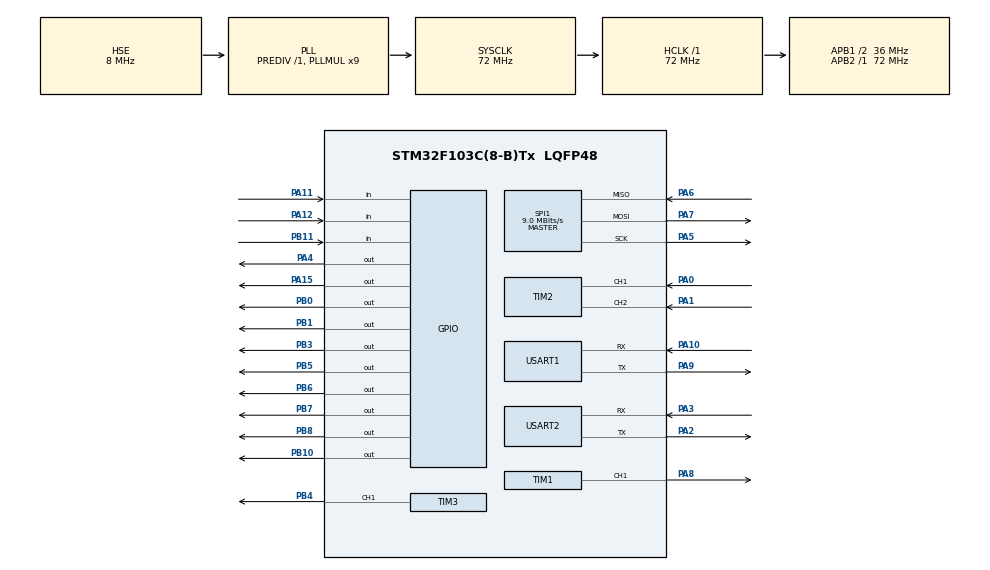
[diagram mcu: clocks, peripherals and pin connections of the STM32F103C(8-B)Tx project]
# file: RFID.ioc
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Mcu.Family=STM32F1
Mcu.Name=STM32F103C(8-B)Tx
Mcu.Package=LQFP48
NVIC.PriorityGroup=NVIC_PRIORITYGROUP_4
NVIC.TIM2_IRQn=true\:0\:0\:false\:false\:true\:true\:true\:true
NVIC.USART1_IRQn=true\:0\:0\:false\:false\:true\:true\:true\:true
NVIC.USART2_IRQn=true\:0\:0\:false\:false\:true\:true\:true\:true
PA0-WKUP.Signal=S_TIM2_CH1_ETR
PA1.Signal=S_TIM2_CH2
PA10.Mode=Asynchronous
PA10.Signal=USART1_RX
PA11.GPIO_PuPd=GPIO_PULLUP
PA11.Signal=GPIO_Input
PA12.GPIO_PuPd=GPIO_PULLUP
PA12.Signal=GPIO_Input
PA13.Mode=Serial_Wire
PA13.Signal=SYS_JTMS-SWDIO
PA14.Mode=Serial_Wire
PA14.Signal=SYS_JTCK-SWCLK
PA15.GPIO_PuPd=GPIO_NOPULL
PA15.PinState=GPIO_PIN_RESET
PA15.Signal=GPIO_Output
PA2.Mode=Asynchronous
PA2.Signal=USART2_TX
PA3.Mode=Asynchronous
PA3.Signal=USART2_RX
PA4.Signal=GPIO_Output
PA5.Mode=Full_Duplex_Master
PA5.Signal=SPI1_SCK
PA6.Mode=Full_Duplex_Master
PA6.Signal=SPI1_MISO
PA7.Mode=Full_Duplex_Master
PA7.Signal=SPI1_MOSI
PA8.Signal=S_TIM1_CH1
PA9.Mode=Asynchronous
PA9.Signal=USART1_TX
PB0.Signal=GPIO_Output
PB1.Signal=GPIO_Output
PB10.Signal=GPIO_Output
PB11.GPIO_PuPd=GPIO_PULLUP
PB11.Signal=GPIO_Input
PB3.Signal=GPIO_Output
PB4.Signal=S_TIM3_CH1
PB5.GPIO_PuPd=GPIO_NOPULL
PB5.PinState=GPIO_PIN_RESET
PB5.Signal=GPIO_Output
PB6.Signal=GPIO_Output
PB7.Signal=GPIO_Output
PB8.Signal=GPIO_Output
PD0-OSC_IN.Mode=HSE-External-Oscillator
PD0-OSC_IN.Signal=RCC_OSC_IN
PD1-OSC_OUT.Mode=HSE-External-Oscillator
PD1-OSC_OUT.Signal=RCC_OSC_OUT
ProjectManager.HeapSize=0x200
ProjectManager.StackSize=0x400
ProjectManager.TargetToolchain=MDK-ARM V5.32
RCC.AHBFreq_Value=72000000
RCC.APB1CLKDivider=RCC_HCLK_DIV2
RCC.APB1Freq_Value=36000000
RCC.APB1TimFreq_Value=72000000
RCC.APB2Freq_Value=72000000
RCC.APB2TimFreq_Value=72000000
RCC.HCLKFreq_Value=72000000
RCC.PLLMUL=RCC_PLL_MUL9
RCC.PLLSourceVirtual=RCC_PLLSOURCE_HSE
RCC.SYSCLKFreq_VALUE=72000000
RCC.SYSCLKSource=RCC_SYSCLKSOURCE_PLLCLK
RCC.USBFreq_Value=72000000
SH.S_TIM1_CH1.0=TIM1_CH1,PWM Generation1 CH1
SH.S_TIM2_CH1_ETR.0=TIM2_CH1,Encoder_Interface
SH.S_TIM2_CH2.0=TIM2_CH2,Encoder_Interface
SH.S_TIM3_CH1.0=TIM3_CH1,PWM Generation1 CH1
SPI1.BaudRatePrescaler=SPI_BAUDRATEPRESCALER_8
SPI1.CalculateBaudRate=9.0 MBits/s
SPI1.Direction=SPI_DIRECTION_2LINES
SPI1.Mode=SPI_MODE_MASTER
SPI1.VirtualType=VM_MASTER
TIM1.Channel-PWM\ Generation1\ CH1=TIM_CHANNEL_1
TIM1.Period=99
TIM1.Prescaler=71
TIM2.EncoderMode=TIM_ENCODERMODE_TI12
TIM2.IC1Polarity=TIM_ICPOLARITY_FALLING
TIM2.IC2Polarity=TIM_ICPOLARITY_FALLING
TIM3.Channel-PWM\ Generation1\ CH1=TIM_CHANNEL_1
TIM3.Period=2000
TIM3.Prescaler=720-1
TIM4.Prescaler=71
USART1.VirtualMode=VM_ASYNC
USART2.VirtualMode=VM_ASYNC
VP_TIM4_VS_ClockSourceINT.Mode=Internal
board=custom

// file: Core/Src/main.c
/* USER CODE BEGIN Header */
/**
 ******************************************************************************
 * @file           : main.c
 * @brief          : Main program body
 ******************************************************************************
 * @attention
 *
 * Copyright (c) 2024 STMicroelectronics.
 * All rights reserved.
 *
 * This software is licensed under terms that can be found in the LICENSE file
 * in the root directory of this software component.
 * If no LICENSE file comes with this software, it is provided AS-IS.
 *
 ******************************************************************************
 */
/* USER CODE END Header */
#include "main.h"

/* USER CODE BEGIN Includes */
#include "rc522.h"
#include "string.h"
#include "stdio.h"
/* USER CODE END Includes */

/* USER CODE BEGIN PD */
#define x_thuan HAL_GPIO_WritePin(GPIOB, GPIO_PIN_3, GPIO_PIN_RESET)
#define x_nghich HAL_GPIO_WritePin(GPIOB, GPIO_PIN_3, GPIO_PIN_SET)

#define x_ENABLE HAL_GPIO_WritePin(GPIOA, GPIO_PIN_15, GPIO_PIN_RESET)
#define x_DISABLE HAL_GPIO_WritePin(GPIOA, GPIO_PIN_15, GPIO_PIN_SET)

#define x_HIGH HAL_GPIO_WritePin(GPIOB, GPIO_PIN_8, GPIO_PIN_SET)
#define x_LOW HAL_GPIO_WritePin(GPIOB, GPIO_PIN_8, GPIO_PIN_RESET)

#define y_thuan HAL_GPIO_WritePin(GPIOB, GPIO_PIN_6, GPIO_PIN_RESET)
#define y_nghich HAL_GPIO_WritePin(GPIOB, GPIO_PIN_6, GPIO_PIN_SET)

#define y_ENABLE HAL_GPIO_WritePin(GPIOB, GPIO_PIN_5, GPIO_PIN_RESET)
#define y_DISABLE HAL_GPIO_WritePin(GPIOB, GPIO_PIN_5, GPIO_PIN_SET)

#define y_HIGH HAL_GPIO_WritePin(GPIOB, GPIO_PIN_7, GPIO_PIN_SET)
#define y_LOW HAL_GPIO_WritePin(GPIOB, GPIO_PIN_7, GPIO_PIN_RESET)

/* USER CODE END PD */

SPI_HandleTypeDef hspi1;

TIM_HandleTypeDef htim1;
TIM_HandleTypeDef htim2;
TIM_HandleTypeDef htim3;
TIM_HandleTypeDef htim4;

UART_HandleTypeDef huart1;
UART_HandleTypeDef huart2;

/* USER CODE BEGIN PV */
uint8_t status;
uint8_t str[16]; // Max_LEN = 16
uint8_t sNum[5];
uint8_t kq;
char Rx_data[100];
char buffer;
int nhap_hang;
char sp;
int kt, x_axis, y_axis, rfid = -1;
int done = -1, done_step = -1;
/* USER CODE END PV */

void SystemClock_Config(void);
static void MX_GPIO_Init(void);
static void MX_SPI1_Init(void);
static void MX_TIM1_Init(void);
static void MX_TIM2_Init(void);
static void MX_TIM4_Init(void);
static void MX_USART1_UART_Init(void);
static void MX_USART2_UART_Init(void);
static void MX_TIM3_Init(void);
/* USER CODE BEGIN PFP */
struct FILE
{
  int dummy;
};
struct FILE __stdout;
int fputc(int ch, FILE *f)
{
  HAL_UART_Transmit(&huart2, (uint8_t *)&ch, 1, 0xFFFF);
  return ch;
}

void HAL_UART_RxCpltCallback(UART_HandleTypeDef *huart)
{
  // HAL_UART_Receive_IT(&huart1, (uint8_t*) Rx_data, 1);
  // HAL_UART_Transmit(&huart1, (uint8_t *) "AOFFBONC", 8, 1000);
  if (huart->Instance == USART1)
  {
    // HAL_UART_Transmit(&huart1,(uint8_t *)&buffer, sizeof(buffer),100);
    if (buffer == '1')
      nhap_hang = 1; // bang tai quay thuan
    else if (buffer == '2')
      nhap_hang = 2; // dao chieu bang tai
    else if (buffer == '3')
    {
      kt = 1;
      done_step = 0;
      done = 0;
    } // san pham 1
    else if (buffer == '4')
    {
      kt = 2;
      done_step = 0;
      done = 0;
    } // san pham 2
    else if (buffer == '5')
    {
      kt = 3;
      done_step = 0;
      done = 0;
    } // san pham 3
    else if (buffer == '6')
    {
      kt = 4;
      done_step = 0;
      done = 0;
    } // san pham 4
    else if (buffer == '7')
    {
      kt = 5;
      done_step = 0;
      done = 0;
    } // san pham 5
    else if (buffer == '8')
    {
      kt = 6;
      done_step = 0;
      done = 0;
    } // san pham 6
    else if (buffer == '0')
      nhap_hang = 3; // dung bang tai
    HAL_UART_Receive_IT(&huart1, (uint8_t *)&buffer, 1);
  }
}
/* USER CODE END PFP */

/* USER CODE BEGIN 0 */
uint16_t position = 0;
uint16_t speed;
uint8_t dir = 0;
int Err, Pre_Err = 0;
int u_PWM = 1;
float Kp = 0.9, Ki = 0.12, Kd = 0.005;
// float Kp = 1.2, Ki = 0.245, Kd = 0.0;
float pPart = 0, iPart = 0, dPart = 0;
void HAL_TIM_IC_CaptureCallback(TIM_HandleTypeDef *htim)
{
  position = __HAL_TIM_GET_COUNTER(htim);
}

void PID_control_speed(int sp)
{
  Err = sp - speed;
  // PID
  pPart = Kp * Err;
  dPart = Kd * (Err - Pre_Err) * 1000 / 50; // sample time 100ms -> /100ms = *10
  iPart += Ki * 50 / 1000 * Err;
  u_PWM = pPart + dPart + iPart;
  // saturation
  if (u_PWM >= 100)
    u_PWM = 100 - 1;
  if (u_PWM <= 0)
    u_PWM = 50;
  // update PWM
  TIM1->CCR1 = u_PWM;
  Pre_Err = Err;
}

void delay_us(uint16_t time)
{
  /* change your code here for the delay in microseconds */
  __HAL_TIM_SET_COUNTER(&htim4, 0);
  while ((__HAL_TIM_GET_COUNTER(&htim4)) < time)
    ;
}

void step_motor_x(int x)
{
  x_axis += x;
  if (x >= 0)
    x_nghich;
  else
  {
    x_thuan;
    x = -x;
  }
  x_ENABLE;
  for (int i = 0; i < x; i++)
  {
    x_HIGH;
    delay_us(2000);
    x_LOW;
    delay_us(2000);
  }
  x_DISABLE;
}
void step_motor_y(int y)
{
  y_axis += y;
  if (y >= 0)
    y_thuan;
  else
  {
    y = -y;
    y_nghich;
  }
  y_ENABLE;
  for (int i = 0; i < y; i++)
  {
    y_HIGH;
    delay_us(2000);
    y_LOW;
    delay_us(2000);
  }
  y_DISABLE;
}
void control_speed(int Speed, int direction)
{
  if (direction == 0)
  {
    HAL_GPIO_WritePin(GPIOB, GPIO_PIN_1, GPIO_PIN_SET);
    HAL_GPIO_WritePin(GPIOB, GPIO_PIN_10, GPIO_PIN_RESET);
    dir = 0;
    //PID_control_speed(Speed);
		TIM1->CCR1 = 80;
    // printf("%d\t %d\t %d\n", position, speed, u_PWM);
    HAL_Delay(50);
  }
  else
  {
    HAL_GPIO_WritePin(GPIOB, GPIO_PIN_1, GPIO_PIN_RESET);
    HAL_GPIO_WritePin(GPIOB, GPIO_PIN_10, GPIO_PIN_SET);
    dir = 1;
    //PID_control_speed(Speed);
		TIM1->CCR1 = 80;
    // printf("%d\t %d\t %d\n", position, speed, u_PWM);
    HAL_Delay(50);
  }
}
void gap_vat()
{
  HAL_Delay(1000);
  htim3.Instance->CCR1 = 190; // 0.5ms   0� gap
  HAL_Delay(2000);
}
void nha_vat()
{
  HAL_Delay(1000);
  htim3.Instance->CCR1 = 135; // nha
  HAL_Delay(2000);
}
void Go_home_x()
{
  while (HAL_GPIO_ReadPin(GPIOA, GPIO_PIN_11) != 0)
  {
    x_thuan;
    x_ENABLE;
    x_HIGH;
    delay_us(2000);
    x_LOW;
    delay_us(2000);
  }
  x_DISABLE;
  x_axis = 0;
}
void Go_home_y()
{
  while (HAL_GPIO_ReadPin(GPIOA, GPIO_PIN_12) != 0)
  {
    y_nghich;
    y_ENABLE;
    y_HIGH;
    delay_us(2000);
    y_LOW;
    delay_us(2000);
  }
  y_DISABLE;
  y_axis = 0;
}
/* USER CODE END 0 */

int main(void)
{

  /* MCU Configuration--------------------------------------------------------*/

  /* Reset of all peripherals, Initializes the Flash interface and the Systick. */
  HAL_Init();

  /* Configure the system clock */
  SystemClock_Config();

  /* Initialize all configured peripherals */
  MX_GPIO_Init();
  MX_SPI1_Init();
  MX_TIM1_Init();
  MX_TIM2_Init();
  MX_TIM4_Init();
  MX_USART1_UART_Init();
  MX_USART2_UART_Init();
  MX_TIM3_Init();
  /* USER CODE BEGIN 2 */
  MFRC522_Init();
  HAL_TIM_Encoder_Start_IT(&htim2, TIM_CHANNEL_ALL);
  TIM1->CCR1 = 80;
  HAL_TIM_PWM_Start(&htim1, TIM_CHANNEL_1);
  HAL_TIM_Base_Start(&htim4);
  HAL_UART_Receive_IT(&huart1, (uint8_t *)&buffer, 1);
  HAL_TIM_PWM_Start(&htim3, TIM_CHANNEL_1);

  htim3.Instance->CCR1 = 135; // nha vat
  Go_home_y();
  Go_home_x();

  /* USER CODE END 2 */

  /* Infinite loop */
  while (1)
  {

    /* USER CODE BEGIN 3 */
    /*// RFID
    status = MFRC522_Request(PICC_REQIDL, str);
    status = MFRC522_Anticoll(str);
    memcpy(sNum, str, 5);
    HAL_Delay(100);
    if((str[0]==19) && (str[1]==221) && (str[2]==201) && (str[3]==12) && (str[4]==11) )
    {
      kq = 0;
      HAL_Delay(10000);
    }
    else if((str[0]==99) && (str[1]==240) && (str[2]==138) && (str[3]==53) && (str[4]==44) )
    {
      kq = 1;
      HAL_Delay(10000);
    }
    else if((str[0]==0x63) && (str[1]==0xA3) && (str[2]==0x2A) && (str[3]==0xFB) && (str[4]==0x11) )
    {
      kq = 2;
      HAL_Delay(10000);
    }
    else if((str[0]==0x53) && (str[1]==0x16) && (str[2]==0x36) && (str[3]==0xFB) && (str[4]==0x88) )
    {
      kq = 3;
      HAL_Delay(10000);
    }
    else if((str[0]==0x13) && (str[1]==0xD3) && (str[2]==0x38) && (str[3]==0xFB) && (str[4]==0x03) )
    {
      kq = 4;
      HAL_Delay(10000);
    }
    else if((str[0]==0x03) && (str[1]==0x74) && (str[2]==0x1D) && (str[3]==0xFB) && (str[4]==0x91) )
    {
      kq = 5;
      HAL_Delay(10000);
    }
    else if((str[0]==0x83) && (str[1]==0xD3) && (str[2]==0x3B) && (str[3]==0xFB) && (str[4]==0x90) )
    {
      kq = 6;
      HAL_Delay(10000);
    }
    else {
      kq = 44;
    }*/
    //k = HAL_GPIO_ReadPin(GPIOB, GPIO_PIN_11);
   /* // PID
    HAL_GPIO_WritePin(GPIOB, GPIO_PIN_1, GPIO_PIN_SET);
    HAL_GPIO_WritePin(GPIOB, GPIO_PIN_10, GPIO_PIN_RESET);
    //PID_control_speed(300);
    printf("%d\t %d\t %d\n", position, speed, u_PWM);
    HAL_Delay(50);
		*/
    // step motor
    // x axis
    /*x_thuan;
    x_ENABLE;
    for (int i = 0; i < 200; i++)
    {
      x_HIGH;
      delay_us(1000);
      x_LOW;
      delay_us(1000);
    }
    x_DISABLE;
    HAL_Delay(1000);

    x_nghich;
    x_ENABLE;
    for (int i = 0; i < 200; i++)
    {
      x_HIGH;
      delay_us(1000);
      x_LOW;
      delay_us(1000);
    }
    x_DISABLE;
    HAL_Delay(1000);*/
    // y axis
    /*gap_vat();
    y_thuan;
    y_ENABLE;
    for (int i = 0; i < 550; i++)
    {
      y_HIGH;
      delay_us(1000);
      y_LOW;
      delay_us(1000);
    }
    y_DISABLE;
    HAL_Delay(1000);
    nha_vat();
    y_nghich;
    y_ENABLE;
    for (int i = 0; i < 550; i++)
    {
      y_HIGH;
      delay_us(1000);
      y_LOW;
      delay_us(1000);
    }
    y_DISABLE;
    HAL_Delay(1000);
    */

    // code
    if (nhap_hang == 1)
    {
      if (HAL_GPIO_ReadPin(GPIOB, GPIO_PIN_11) == 1)
        control_speed(500, 0);
      else
      {
        HAL_GPIO_WritePin(GPIOB, GPIO_PIN_1, GPIO_PIN_RESET);
        HAL_GPIO_WritePin(GPIOB, GPIO_PIN_10, GPIO_PIN_RESET);
        rfid = -1;
        if (sp == '1')
        {
          nha_vat();
          step_motor_y(400 - y_axis);
          Go_home_x();
          step_motor_y(800 - y_axis);
          gap_vat();
          Go_home_y();
          nha_vat();
          sp = 0;
        }
        else if (sp == '2')
        {
          nha_vat();
          step_motor_y(400 - y_axis);
          Go_home_x();
          step_motor_y(800 - y_axis);
          gap_vat();
          step_motor_y(400 - y_axis);
          step_motor_x(600 - x_axis);
          Go_home_y();
          nha_vat();
          sp = 0;
        }
        else if (sp == '3')
        {
          nha_vat();
          step_motor_y(400 - y_axis);
          Go_home_x();
          step_motor_y(800 - y_axis);
          gap_vat();
          step_motor_y(400 - y_axis);
          step_motor_x(1200 - x_axis);
          Go_home_y();
          nha_vat();
          sp = 0;
        }
        else if (sp == '4')
        {
          nha_vat();
          step_motor_y(400 - y_axis);
          Go_home_x();
          step_motor_y(800 - y_axis);
          gap_vat();
          Go_home_y();
          nha_vat();
          sp = 0;
        }
        else if (sp == '5')
        {
          nha_vat();
          step_motor_y(400 - y_axis);
          Go_home_x();
          step_motor_y(800 - y_axis);
          gap_vat();
          step_motor_y(400 - y_axis);
          step_motor_x(600 - x_axis);
          Go_home_y();
          nha_vat();
          sp = 0;
        }
        else if (sp == '6')
        {
          nha_vat();
          step_motor_y(400 - y_axis);
          Go_home_x();
          step_motor_y(800 - y_axis);
          gap_vat();
          step_motor_y(400 - y_axis);
          step_motor_x(1200 - x_axis);
          Go_home_y();
          nha_vat();
          sp = 0;
        }
      }
      status = MFRC522_Request(PICC_REQIDL, str);
      status = MFRC522_Anticoll(str);
      memcpy(sNum, str, 5);
      // HAL_Delay(100);
      if ((str[0] == 19) && (str[1] == 221) && (str[2] == 201) && (str[3] == 12) && (str[4] == 11) && rfid != 0)
      {
        sp = '0';
        rfid = 0;
        HAL_UART_Transmit(&huart1, (uint8_t *)&sp, sizeof(sp), 100);
      }
      else if ((str[0] == 99) && (str[1] == 240) && (str[2] == 138) && (str[3] == 53) && (str[4] == 44) && rfid != 1)
      {
        sp = '1';
        rfid = 1;
        HAL_UART_Transmit(&huart1, (uint8_t *)&sp, sizeof(sp), 100);
      }
      else if ((str[0] == 0x63) && (str[1] == 0xA3) && (str[2] == 0x2A) && (str[3] == 0xFB) && (str[4] == 0x11) && rfid != 2)
      {
        sp = '2';
        rfid = 2;
        HAL_UART_Transmit(&huart1, (uint8_t *)&sp, sizeof(sp), 100);
      }
      else if ((str[0] == 0x53) && (str[1] == 0x16) && (str[2] == 0x36) && (str[3] == 0xFB) && (str[4] == 0x88) && rfid != 3)
      {
        sp = '3';
        rfid = 3;
        HAL_UART_Transmit(&huart1, (uint8_t *)&sp, sizeof(sp), 100);
      }
      else if ((str[0] == 0x13) && (str[1] == 0xD3) && (str[2] == 0x38) && (str[3] == 0xFB) && (str[4] == 0x03) && rfid != 4)
      {
        sp = '4';
        rfid = 4;
        HAL_UART_Transmit(&huart1, (uint8_t *)&sp, sizeof(sp), 100);
      }
      else if ((str[0] == 0x03) && (str[1] == 0x74) && (str[2] == 0x1D) && (str[3] == 0xFB) && (str[4] == 0x91) && rfid != 5)
      {
        sp = '5';
        rfid = 5;
        HAL_UART_Transmit(&huart1, (uint8_t *)&sp, sizeof(sp), 100);
      }
      else if ((str[0] == 0x83) && (str[1] == 0xD3) && (str[2] == 0x3B) && (str[3] == 0xFB) && (str[4] == 0x90) && rfid != 6)
      {
        sp = '6';
        rfid = 6;
        HAL_UART_Transmit(&huart1, (uint8_t *)&sp, sizeof(sp), 100);
      }
    }
    else if (nhap_hang == 2)
    {
      HAL_GPIO_WritePin(GPIOB, GPIO_PIN_1, GPIO_PIN_RESET);
      HAL_GPIO_WritePin(GPIOB, GPIO_PIN_10, GPIO_PIN_RESET);
      if (kt == 1 && done < 100)
      {
        if (done_step == 0)
        {
          nha_vat();
          Go_home_x();
          Go_home_y();
          gap_vat();
          step_motor_y(400);
          step_motor_x(800);
          step_motor_y(400);
          nha_vat();
          done_step = 1;
        }
        done++;
        control_speed(500, 1);
      }
      else if (kt == 2 && done < 100)
      {
        if (done_step == 0)
        {
          nha_vat();
          step_motor_x(600 - x_axis);
          Go_home_y();
          gap_vat();
          step_motor_y(400);
          step_motor_x(800 - x_axis);
          step_motor_y(400);
          nha_vat();
          done_step = 1;
        }
        done++;
        control_speed(500, 1);
      }
      else if (kt == 3 && done < 100)
      {
        if (done_step == 0)
        {
          nha_vat();
          step_motor_x(1200 - x_axis);
          Go_home_y();
          gap_vat();
          step_motor_y(400);
          step_motor_x(800 - x_axis);
          step_motor_y(400);
          nha_vat();
          done_step = 1;
        }
        done++;
        control_speed(500, 1);
      }
      else if (kt == 4 && done < 100)
      {
        if (done_step == 0)
        {
          nha_vat();
          Go_home_x();
          Go_home_y();
          gap_vat();
          step_motor_y(400);
          step_motor_x(800);
          step_motor_y(400);
          nha_vat();
          done_step = 1;
        }
        done++;
        control_speed(500, 1);
      }
      else if (kt == 5 && done < 100)
      {
        if (done_step == 0)
        {
          nha_vat();
          step_motor_x(600 - x_axis);
          Go_home_y();
          gap_vat();
          step_motor_y(400);
          step_motor_x(800 - x_axis);
          step_motor_y(400);
          nha_vat();
          done_step = 1;
        }
        done++;
        control_speed(500, 1);
      }
      else if (kt == 6 && done < 100)
      {
        if (done_step == 0)
        {
          nha_vat();
          step_motor_x(1200 - x_axis);
          Go_home_y();
          gap_vat();
          step_motor_y(400);
          step_motor_x(800 - x_axis);
          step_motor_y(400);
          nha_vat();
          done_step = 1;
        }
        done++;
        control_speed(500, 1);
      }
      if (done == 100)
      {
        HAL_GPIO_WritePin(GPIOB, GPIO_PIN_1, GPIO_PIN_RESET);
        HAL_GPIO_WritePin(GPIOB, GPIO_PIN_10, GPIO_PIN_RESET);
      }
    }
    else
    {
      HAL_GPIO_WritePin(GPIOB, GPIO_PIN_1, GPIO_PIN_RESET);
      HAL_GPIO_WritePin(GPIOB, GPIO_PIN_10, GPIO_PIN_RESET);
    }
  }
  /* USER CODE END 3 */
}

void SystemClock_Config(void)
{
  RCC_OscInitTypeDef RCC_OscInitStruct = {0};
  RCC_ClkInitTypeDef RCC_ClkInitStruct = {0};

  /** Initializes the RCC Oscillators according to the specified parameters
  * in the RCC_OscInitTypeDef structure.
  */
  RCC_OscInitStruct.OscillatorType = RCC_OSCILLATORTYPE_HSE;
  RCC_OscInitStruct.HSEState = RCC_HSE_ON;
  RCC_OscInitStruct.HSEPredivValue = RCC_HSE_PREDIV_DIV1;
  RCC_OscInitStruct.HSIState = RCC_HSI_ON;
  RCC_OscInitStruct.PLL.PLLState = RCC_PLL_ON;
  RCC_OscInitStruct.PLL.PLLSource = RCC_PLLSOURCE_HSE;
  RCC_OscInitStruct.PLL.PLLMUL = RCC_PLL_MUL9;
  if (HAL_RCC_OscConfig(&RCC_OscInitStruct) != HAL_OK)
  {
    Error_Handler();
  }

  /** Initializes the CPU, AHB and APB buses clocks
  */
  RCC_ClkInitStruct.ClockType = RCC_CLOCKTYPE_HCLK|RCC_CLOCKTYPE_SYSCLK
                              |RCC_CLOCKTYPE_PCLK1|RCC_CLOCKTYPE_PCLK2;
  RCC_ClkInitStruct.SYSCLKSource = RCC_SYSCLKSOURCE_PLLCLK;
  RCC_ClkInitStruct.AHBCLKDivider = RCC_SYSCLK_DIV1;
  RCC_ClkInitStruct.APB1CLKDivider = RCC_HCLK_DIV2;
  RCC_ClkInitStruct.APB2CLKDivider = RCC_HCLK_DIV1;

  if (HAL_RCC_ClockConfig(&RCC_ClkInitStruct, FLASH_LATENCY_2) != HAL_OK)
  {
    Error_Handler();
  }
}

static void MX_SPI1_Init(void)
{

  /* SPI1 parameter configuration*/
  hspi1.Instance = SPI1;
  hspi1.Init.Mode = SPI_MODE_MASTER;
  hspi1.Init.Direction = SPI_DIRECTION_2LINES;
  hspi1.Init.DataSize = SPI_DATASIZE_8BIT;
  hspi1.Init.CLKPolarity = SPI_POLARITY_LOW;
  hspi1.Init.CLKPhase = SPI_PHASE_1EDGE;
  hspi1.Init.NSS = SPI_NSS_SOFT;
  hspi1.Init.BaudRatePrescaler = SPI_BAUDRATEPRESCALER_8;
  hspi1.Init.FirstBit = SPI_FIRSTBIT_MSB;
  hspi1.Init.TIMode = SPI_TIMODE_DISABLE;
  hspi1.Init.CRCCalculation = SPI_CRCCALCULATION_DISABLE;
  hspi1.Init.CRCPolynomial = 10;
  if (HAL_SPI_Init(&hspi1) != HAL_OK)
  {
    Error_Handler();
  }

}

static void MX_TIM1_Init(void)
{

  TIM_MasterConfigTypeDef sMasterConfig = {0};
  TIM_OC_InitTypeDef sConfigOC = {0};
  TIM_BreakDeadTimeConfigTypeDef sBreakDeadTimeConfig = {0};

  htim1.Instance = TIM1;
  htim1.Init.Prescaler = 71;
  htim1.Init.CounterMode = TIM_COUNTERMODE_UP;
  htim1.Init.Period = 99;
  htim1.Init.ClockDivision = TIM_CLOCKDIVISION_DIV1;
  htim1.Init.RepetitionCounter = 0;
  htim1.Init.AutoReloadPreload = TIM_AUTORELOAD_PRELOAD_DISABLE;
  if (HAL_TIM_PWM_Init(&htim1) != HAL_OK)
  {
    Error_Handler();
  }
  sMasterConfig.MasterOutputTrigger = TIM_TRGO_RESET;
  sMasterConfig.MasterSlaveMode = TIM_MASTERSLAVEMODE_DISABLE;
  if (HAL_TIMEx_MasterConfigSynchronization(&htim1, &sMasterConfig) != HAL_OK)
  {
    Error_Handler();
  }
  sConfigOC.OCMode = TIM_OCMODE_PWM1;
  sConfigOC.Pulse = 0;
  sConfigOC.OCPolarity = TIM_OCPOLARITY_HIGH;
  sConfigOC.OCNPolarity = TIM_OCNPOLARITY_HIGH;
  sConfigOC.OCFastMode = TIM_OCFAST_DISABLE;
  sConfigOC.OCIdleState = TIM_OCIDLESTATE_RESET;
  sConfigOC.OCNIdleState = TIM_OCNIDLESTATE_RESET;
  if (HAL_TIM_PWM_ConfigChannel(&htim1, &sConfigOC, TIM_CHANNEL_1) != HAL_OK)
  {
    Error_Handler();
  }
  sBreakDeadTimeConfig.OffStateRunMode = TIM_OSSR_DISABLE;
  sBreakDeadTimeConfig.OffStateIDLEMode = TIM_OSSI_DISABLE;
  sBreakDeadTimeConfig.LockLevel = TIM_LOCKLEVEL_OFF;
  sBreakDeadTimeConfig.DeadTime = 0;
  sBreakDeadTimeConfig.BreakState = TIM_BREAK_DISABLE;
  sBreakDeadTimeConfig.BreakPolarity = TIM_BREAKPOLARITY_HIGH;
  sBreakDeadTimeConfig.AutomaticOutput = TIM_AUTOMATICOUTPUT_DISABLE;
  if (HAL_TIMEx_ConfigBreakDeadTime(&htim1, &sBreakDeadTimeConfig) != HAL_OK)
  {
    Error_Handler();
  }
  HAL_TIM_MspPostInit(&htim1);

}

static void MX_TIM2_Init(void)
{

  TIM_Encoder_InitTypeDef sConfig = {0};
  TIM_MasterConfigTypeDef sMasterConfig = {0};

  htim2.Instance = TIM2;
  htim2.Init.Prescaler = 0;
  htim2.Init.CounterMode = TIM_COUNTERMODE_UP;
  htim2.Init.Period = 65535;
  htim2.Init.ClockDivision = TIM_CLOCKDIVISION_DIV1;
  htim2.Init.AutoReloadPreload = TIM_AUTORELOAD_PRELOAD_DISABLE;
  sConfig.EncoderMode = TIM_ENCODERMODE_TI12;
  sConfig.IC1Polarity = TIM_ICPOLARITY_FALLING;
  sConfig.IC1Selection = TIM_ICSELECTION_DIRECTTI;
  sConfig.IC1Prescaler = TIM_ICPSC_DIV1;
  sConfig.IC1Filter = 0;
  sConfig.IC2Polarity = TIM_ICPOLARITY_FALLING;
  sConfig.IC2Selection = TIM_ICSELECTION_DIRECTTI;
  sConfig.IC2Prescaler = TIM_ICPSC_DIV1;
  sConfig.IC2Filter = 0;
  if (HAL_TIM_Encoder_Init(&htim2, &sConfig) != HAL_OK)
  {
    Error_Handler();
  }
  sMasterConfig.MasterOutputTrigger = TIM_TRGO_RESET;
  sMasterConfig.MasterSlaveMode = TIM_MASTERSLAVEMODE_DISABLE;
  if (HAL_TIMEx_MasterConfigSynchronization(&htim2, &sMasterConfig) != HAL_OK)
  {
    Error_Handler();
  }

}

static void MX_TIM3_Init(void)
{

  TIM_MasterConfigTypeDef sMasterConfig = {0};
  TIM_OC_InitTypeDef sConfigOC = {0};

  htim3.Instance = TIM3;
  htim3.Init.Prescaler = 720-1;
  htim3.Init.CounterMode = TIM_COUNTERMODE_UP;
  htim3.Init.Period = 2000;
  htim3.Init.ClockDivision = TIM_CLOCKDIVISION_DIV1;
  htim3.Init.AutoReloadPreload = TIM_AUTORELOAD_PRELOAD_DISABLE;
  if (HAL_TIM_PWM_Init(&htim3) != HAL_OK)
  {
    Error_Handler();
  }
  sMasterConfig.MasterOutputTrigger = TIM_TRGO_RESET;
  sMasterConfig.MasterSlaveMode = TIM_MASTERSLAVEMODE_DISABLE;
  if (HAL_TIMEx_MasterConfigSynchronization(&htim3, &sMasterConfig) != HAL_OK)
  {
    Error_Handler();
  }
  sConfigOC.OCMode = TIM_OCMODE_PWM1;
  sConfigOC.Pulse = 0;
  sConfigOC.OCPolarity = TIM_OCPOLARITY_HIGH;
  sConfigOC.OCFastMode = TIM_OCFAST_DISABLE;
  if (HAL_TIM_PWM_ConfigChannel(&htim3, &sConfigOC, TIM_CHANNEL_1) != HAL_OK)
  {
    Error_Handler();
  }
  HAL_TIM_MspPostInit(&htim3);

}

static void MX_TIM4_Init(void)
{

  TIM_ClockConfigTypeDef sClockSourceConfig = {0};
  TIM_MasterConfigTypeDef sMasterConfig = {0};

  htim4.Instance = TIM4;
  htim4.Init.Prescaler = 71;
  htim4.Init.CounterMode = TIM_COUNTERMODE_UP;
  htim4.Init.Period = 65535;
  htim4.Init.ClockDivision = TIM_CLOCKDIVISION_DIV1;
  htim4.Init.AutoReloadPreload = TIM_AUTORELOAD_PRELOAD_DISABLE;
  if (HAL_TIM_Base_Init(&htim4) != HAL_OK)
  {
    Error_Handler();
  }
  sClockSourceConfig.ClockSource = TIM_CLOCKSOURCE_INTERNAL;
  if (HAL_TIM_ConfigClockSource(&htim4, &sClockSourceConfig) != HAL_OK)
  {
    Error_Handler();
  }
  sMasterConfig.MasterOutputTrigger = TIM_TRGO_RESET;
  sMasterConfig.MasterSlaveMode = TIM_MASTERSLAVEMODE_DISABLE;
  if (HAL_TIMEx_MasterConfigSynchronization(&htim4, &sMasterConfig) != HAL_OK)
  {
    Error_Handler();
  }

}

static void MX_USART1_UART_Init(void)
{

  huart1.Instance = USART1;
  huart1.Init.BaudRate = 115200;
  huart1.Init.WordLength = UART_WORDLENGTH_8B;
  huart1.Init.StopBits = UART_STOPBITS_1;
  huart1.Init.Parity = UART_PARITY_NONE;
  huart1.Init.Mode = UART_MODE_TX_RX;
  huart1.Init.HwFlowCtl = UART_HWCONTROL_NONE;
  huart1.Init.OverSampling = UART_OVERSAMPLING_16;
  if (HAL_UART_Init(&huart1) != HAL_OK)
  {
    Error_Handler();
  }

}

static void MX_USART2_UART_Init(void)
{

  huart2.Instance = USART2;
  huart2.Init.BaudRate = 115200;
  huart2.Init.WordLength = UART_WORDLENGTH_8B;
  huart2.Init.StopBits = UART_STOPBITS_1;
  huart2.Init.Parity = UART_PARITY_NONE;
  huart2.Init.Mode = UART_MODE_TX_RX;
  huart2.Init.HwFlowCtl = UART_HWCONTROL_NONE;
  huart2.Init.OverSampling = UART_OVERSAMPLING_16;
  if (HAL_UART_Init(&huart2) != HAL_OK)
  {
    Error_Handler();
  }

}

static void MX_GPIO_Init(void)
{
  GPIO_InitTypeDef GPIO_InitStruct = {0};

  /* GPIO Ports Clock Enable */
  __HAL_RCC_GPIOD_CLK_ENABLE();
  __HAL_RCC_GPIOA_CLK_ENABLE();
  __HAL_RCC_GPIOB_CLK_ENABLE();

  /*Configure GPIO pin Output Level */
  HAL_GPIO_WritePin(GPIOA, GPIO_PIN_4|GPIO_PIN_15, GPIO_PIN_RESET);

  /*Configure GPIO pin Output Level */
  HAL_GPIO_WritePin(GPIOB, GPIO_PIN_0|GPIO_PIN_1|GPIO_PIN_10|GPIO_PIN_3
                          |GPIO_PIN_5|GPIO_PIN_6|GPIO_PIN_7|GPIO_PIN_8, GPIO_PIN_RESET);

  /*Configure GPIO pins : PA4 PA15 */
  GPIO_InitStruct.Pin = GPIO_PIN_4|GPIO_PIN_15;
  GPIO_InitStruct.Mode = GPIO_MODE_OUTPUT_PP;
  GPIO_InitStruct.Pull = GPIO_NOPULL;
  GPIO_InitStruct.Speed = GPIO_SPEED_FREQ_LOW;
  HAL_GPIO_Init(GPIOA, &GPIO_InitStruct);

  /*Configure GPIO pins : PB0 PB1 PB10 PB3
                           PB5 PB6 PB7 PB8 */
  GPIO_InitStruct.Pin = GPIO_PIN_0|GPIO_PIN_1|GPIO_PIN_10|GPIO_PIN_3
                          |GPIO_PIN_5|GPIO_PIN_6|GPIO_PIN_7|GPIO_PIN_8;
  GPIO_InitStruct.Mode = GPIO_MODE_OUTPUT_PP;
  GPIO_InitStruct.Pull = GPIO_NOPULL;
  GPIO_InitStruct.Speed = GPIO_SPEED_FREQ_LOW;
  HAL_GPIO_Init(GPIOB, &GPIO_InitStruct);

  /*Configure GPIO pin : PB11 */
  GPIO_InitStruct.Pin = GPIO_PIN_11;
  GPIO_InitStruct.Mode = GPIO_MODE_INPUT;
  GPIO_InitStruct.Pull = GPIO_PULLUP;
  HAL_GPIO_Init(GPIOB, &GPIO_InitStruct);

  /*Configure GPIO pins : PA11 PA12 */
  GPIO_InitStruct.Pin = GPIO_PIN_11|GPIO_PIN_12;
  GPIO_InitStruct.Mode = GPIO_MODE_INPUT;
  GPIO_InitStruct.Pull = GPIO_PULLUP;
  HAL_GPIO_Init(GPIOA, &GPIO_InitStruct);

}

void Error_Handler(void)
{
  __disable_irq();
  while (1)
  {
  }
}
